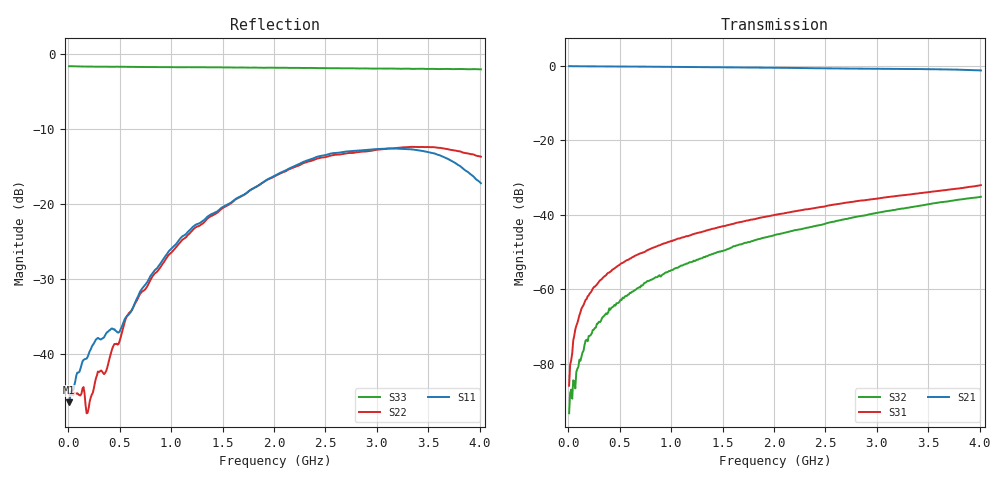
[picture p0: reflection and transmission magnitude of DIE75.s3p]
!Keysight Technologies,N5232A,MY52221226,A.10.49.03
!Date: Wednesday, April 13, 2016 22:00:04
!Correction: S11(Full 6 Port(1,2,3,4,5,6))
!S12(Full 6 Port(1,2,3,4,5,6))
!S13(Full 6 Port(1,2,3,4,5,6))
!S21(Full 6 Port(1,2,3,4,5,6))
!S22(Full 6 Port(1,2,3,4,5,6))
!S23(Full 6 Port(1,2,3,4,5,6))
!S31(Full 6 Port(1,2,3,4,5,6))
!S32(Full 6 Port(1,2,3,4,5,6))
!S33(Full 6 Port(1,2,3,4,5,6))
!S3P File: Measurements: <S11,S12,S13>,
!<S21,S22,S23>,
!<S31,S32,S33>:
# Hz S  dB  R 50
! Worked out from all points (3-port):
!   401 points, 10 MHz to 4.01 GHz, reference 50 ohm
!   strongest paths, dB at 10 MHz, 1.01 GHz, 2.01 GHz, 3.01 GHz, 4.01 GHz:
!     S21: -0.1, -0.3, -0.5, -0.8, -1.2
!     S31: -85.9, -47.1, -40.0, -35.6, -32.0
!     S32: -93.3, -54.8, -45.4, -39.5, -35.2
!   lowest |S11| = -46.4 dB at 10 MHz (marker M1), VSWR 1.01, Z = 50.5 - j0.0625 ohm
!   |S11| at or under -10 dB: start of sweep to end of sweep
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1e7  -46.40 -7.4  -0.10 -0.9  -89.14 80.4
     -0.11 -0.9  -45.23 -4.8  -95.12 33.1
     -85.89 40.6  -93.30 33.1  -1.66 179.2
1e8  -42.44 -16.4  -0.14 -8.0  -67.95 83.2
     -0.13 -8.0  -45.33 -19.7  -80.97 89.5
     -68.05 84.2  -80.83 79.8  -1.69 172.1
1.6e8  -40.67 -34.3  -0.15 -12.8  -63.68 80.9
       -0.15 -12.8  -45.23 -51.0  -75.79 91.6
       -63.57 82.0  -74.93 88.6  -1.70 167.5
4.5e8  -36.67 -80.0  -0.19 -35.6  -54.30 63.6
       -0.19 -35.5  -38.64 -97.6  -64.16 84.2
       -54.39 64.0  -64.20 82.4  -1.73 145.4
1.21e9  -23.07 -170.9  -0.32 -95.0  -45.30 18.4
        -0.32 -95.0  -23.47 171.5  -52.34 42.2
        -45.23 18.7  -52.61 41.9  -1.80 88.5
2.01e9  -16.20 112.9  -0.52 -157.5  -40.05 -32.5
        -0.52 -157.4  -16.27 108.0  -45.49 -9.6
        -40.03 -32.6  -45.39 -9.1  -1.88 30.2
2.55e9  -13.29 69.2  -0.70 160.6  -37.41 -67.7
        -0.71 160.7  -13.56 68.4  -42.03 -46.4
        -37.40 -67.7  -42.01 -46.6  -1.93 -9.0
3.15e9  -12.63 15.3  -0.82 113.9  -35.08 -108.4
        -0.83 113.9  -12.60 29.5  -38.78 -89.8
        -35.11 -108.6  -38.76 -90.3  -1.97 -53.4
3.58e9  -13.38 -20.6  -0.95 79.8  -33.70 -137.0
        -0.95 79.7  -12.49 1.8  -36.86 -123.2
        -33.65 -137.3  -36.82 -123.5  -2.03 -85.5
4.01e9  -17.23 -37.0  -1.24 44.1  -32.04 -164.3
        -1.25 44.1  -13.70 -16.7  -35.18 -157.7
        -32.04 -164.0  -35.17 -157.4  -2.08 -118.5
